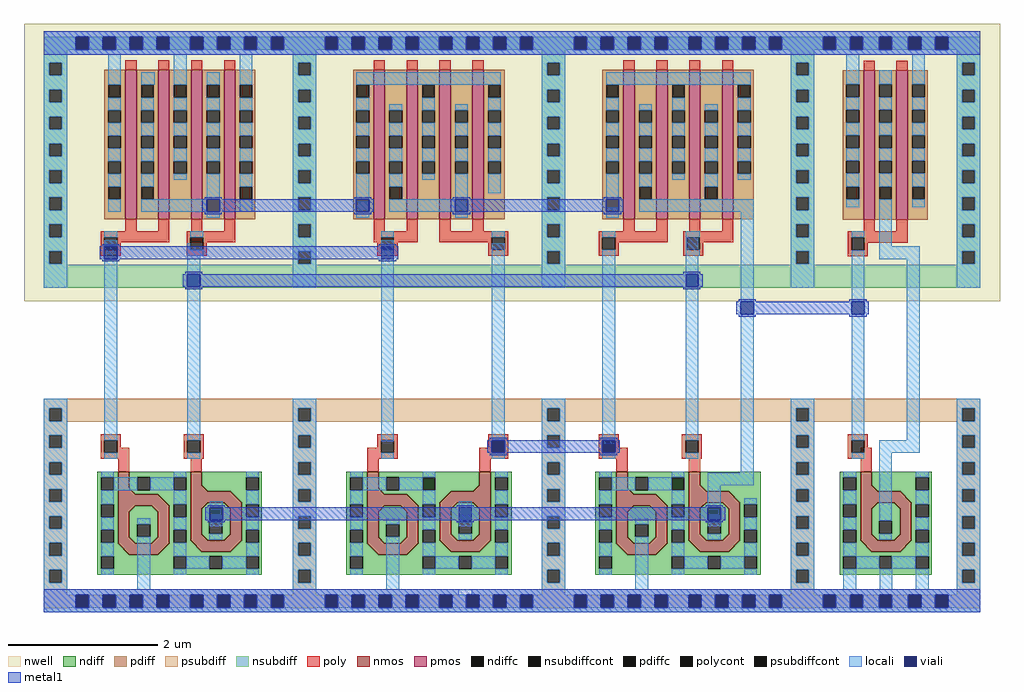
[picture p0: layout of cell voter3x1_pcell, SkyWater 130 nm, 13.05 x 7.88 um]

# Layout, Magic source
magic
tech sky130A
magscale 1 2
<< metal1 >>
rect 1867 797 2108 831
use votern3x1_pcell  votern3x1_pcell_0
transform 1 0 0 0 1 0
box -84 0 2082 1575
use invx1_pcell  invx1_pcell_0
transform 1 0 1998 0 1 0
box -84 0 528 1575
use li1_M1_contact  li1_M1_contact_16
transform -1 0 1850 0 -1 814
box -53 -33 29 33
use li1_M1_contact  li1_M1_contact_0
transform 1 0 2146 0 1 814
box -53 -33 29 33
<< end >>

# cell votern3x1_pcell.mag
magic
tech sky130A
magscale 1 2
<< nwell >>
rect 84 1554 582 1575
rect 31 1492 582 1554
rect 84 832 582 1492
rect 750 832 1248 1575
rect 1416 832 1914 1575
<< pdiffc >>
rect 141 1377 175 1411
rect 229 1377 263 1411
rect 317 1377 351 1411
rect 405 1377 439 1411
rect 493 1377 527 1411
rect 805 1377 839 1411
rect 981 1377 1015 1411
rect 1157 1377 1191 1411
rect 1473 1377 1507 1411
rect 1649 1377 1683 1411
rect 1825 1377 1859 1411
rect 141 1105 175 1139
rect 229 1105 263 1139
rect 493 1105 527 1139
rect 893 1105 927 1139
rect 1561 1105 1595 1139
rect 1737 1105 1771 1139
<< psubdiff >>
rect 31 510 635 572
rect 697 510 1301 572
rect 1363 510 1967 572
rect 31 13 55 47
rect 89 13 127 47
rect 161 13 199 47
rect 233 13 271 47
rect 305 13 361 47
rect 395 13 433 47
rect 467 13 505 47
rect 539 13 577 47
rect 611 13 635 47
rect 697 13 721 47
rect 755 13 793 47
rect 827 13 865 47
rect 899 13 937 47
rect 971 13 1027 47
rect 1061 13 1099 47
rect 1133 13 1171 47
rect 1205 13 1243 47
rect 1277 13 1301 47
rect 1363 13 1387 47
rect 1421 13 1459 47
rect 1493 13 1531 47
rect 1565 13 1603 47
rect 1637 13 1693 47
rect 1727 13 1765 47
rect 1799 13 1837 47
rect 1871 13 1909 47
rect 1943 13 1967 47
<< nsubdiff >>
rect 31 1505 55 1539
rect 89 1505 127 1539
rect 161 1505 199 1539
rect 233 1505 271 1539
rect 305 1505 361 1539
rect 395 1505 433 1539
rect 467 1505 505 1539
rect 539 1505 577 1539
rect 611 1505 635 1539
rect 697 1505 721 1539
rect 755 1505 793 1539
rect 827 1505 865 1539
rect 899 1505 937 1539
rect 971 1505 1027 1539
rect 1061 1505 1099 1539
rect 1133 1505 1171 1539
rect 1205 1505 1243 1539
rect 1277 1505 1301 1539
rect 1363 1505 1387 1539
rect 1421 1505 1459 1539
rect 1493 1505 1531 1539
rect 1565 1505 1603 1539
rect 1637 1505 1693 1539
rect 1727 1505 1765 1539
rect 1799 1505 1837 1539
rect 1871 1505 1909 1539
rect 1943 1505 1967 1539
rect 31 868 635 930
rect 697 868 1301 930
rect 1363 868 1967 930
<< psubdiffcont >>
rect 55 13 89 47
rect 127 13 161 47
rect 199 13 233 47
rect 271 13 305 47
rect 361 13 395 47
rect 433 13 467 47
rect 505 13 539 47
rect 577 13 611 47
rect 721 13 755 47
rect 793 13 827 47
rect 865 13 899 47
rect 937 13 971 47
rect 1027 13 1061 47
rect 1099 13 1133 47
rect 1171 13 1205 47
rect 1243 13 1277 47
rect 1387 13 1421 47
rect 1459 13 1493 47
rect 1531 13 1565 47
rect 1603 13 1637 47
rect 1693 13 1727 47
rect 1765 13 1799 47
rect 1837 13 1871 47
rect 1909 13 1943 47
<< nsubdiffcont >>
rect 55 1505 89 1539
rect 127 1505 161 1539
rect 199 1505 233 1539
rect 271 1505 305 1539
rect 361 1505 395 1539
rect 433 1505 467 1539
rect 505 1505 539 1539
rect 577 1505 611 1539
rect 721 1505 755 1539
rect 793 1505 827 1539
rect 865 1505 899 1539
rect 937 1505 971 1539
rect 1027 1505 1061 1539
rect 1099 1505 1133 1539
rect 1171 1505 1205 1539
rect 1243 1505 1277 1539
rect 1387 1505 1421 1539
rect 1459 1505 1493 1539
rect 1531 1505 1565 1539
rect 1603 1505 1637 1539
rect 1693 1505 1727 1539
rect 1765 1505 1799 1539
rect 1837 1505 1871 1539
rect 1909 1505 1943 1539
<< poly >>
rect 175 990 187 1020
rect 1145 990 1157 1020
rect 1507 990 1519 1020
rect 168 403 198 441
rect 362 409 392 411
rect 834 403 864 441
rect 1134 410 1164 441
rect 1500 403 1530 441
rect 1694 410 1724 411
<< locali >>
rect 31 1539 635 1554
rect 31 1505 55 1539
rect 89 1505 127 1539
rect 161 1505 199 1539
rect 233 1505 271 1539
rect 305 1505 361 1539
rect 395 1505 433 1539
rect 467 1505 505 1539
rect 539 1505 577 1539
rect 611 1505 635 1539
rect 31 1492 635 1505
rect 697 1539 1301 1554
rect 697 1505 721 1539
rect 755 1505 793 1539
rect 827 1505 865 1539
rect 899 1505 937 1539
rect 971 1505 1027 1539
rect 1061 1505 1099 1539
rect 1133 1505 1171 1539
rect 1205 1505 1243 1539
rect 1277 1505 1301 1539
rect 697 1492 1301 1505
rect 1363 1539 1967 1554
rect 1363 1505 1387 1539
rect 1421 1505 1459 1539
rect 1493 1505 1531 1539
rect 1565 1505 1603 1539
rect 1637 1505 1693 1539
rect 1727 1505 1765 1539
rect 1799 1505 1837 1539
rect 1871 1505 1909 1539
rect 1943 1505 1967 1539
rect 1363 1492 1967 1505
rect 141 1411 175 1492
rect 141 1359 175 1377
rect 229 1411 265 1445
rect 317 1411 351 1492
rect 229 1359 263 1377
rect 317 1359 351 1377
rect 405 1411 439 1445
rect 405 1359 439 1377
rect 493 1411 527 1492
rect 493 1359 527 1377
rect 805 1411 1191 1445
rect 805 1359 839 1377
rect 981 1359 1015 1377
rect 1157 1359 1191 1377
rect 1473 1411 1859 1445
rect 1473 1359 1507 1377
rect 1649 1359 1683 1377
rect 1825 1359 1859 1377
rect 141 1139 175 1157
rect 141 1071 175 1105
rect 229 1139 263 1157
rect 405 1121 439 1157
rect 493 1139 527 1157
rect 805 1121 839 1173
rect 893 1139 927 1157
rect 229 1071 405 1105
rect 493 1071 527 1105
rect 1069 1121 1103 1157
rect 1157 1121 1191 1157
rect 1473 1121 1507 1157
rect 1561 1139 1595 1157
rect 1737 1139 1771 1173
rect 805 1069 839 1100
rect 893 1071 1103 1105
rect 1473 1071 1507 1084
rect 1561 1071 1867 1105
rect 131 461 165 988
rect 353 954 361 988
rect 353 467 387 954
rect 353 461 357 467
rect 871 458 905 954
rect 1167 461 1201 988
rect 1463 451 1497 954
rect 1685 461 1719 1020
rect 1833 374 1867 1071
rect 1745 340 1867 374
rect 1745 297 1779 340
rect 219 62 253 187
rect 885 62 919 187
rect 1551 62 1585 187
rect 31 47 635 62
rect 31 13 55 47
rect 89 13 127 47
rect 161 13 199 47
rect 233 13 271 47
rect 305 13 361 47
rect 395 13 433 47
rect 467 13 505 47
rect 539 13 577 47
rect 611 13 635 47
rect 31 0 635 13
rect 697 47 1079 62
rect 1113 47 1301 62
rect 697 13 721 47
rect 755 13 793 47
rect 827 13 865 47
rect 899 13 937 47
rect 971 13 1027 47
rect 1061 13 1099 47
rect 1133 13 1171 47
rect 1205 13 1243 47
rect 1277 13 1301 47
rect 697 0 1301 13
rect 1363 47 1967 62
rect 1363 13 1387 47
rect 1421 13 1459 47
rect 1493 13 1531 47
rect 1565 13 1603 47
rect 1637 13 1693 47
rect 1727 13 1765 47
rect 1799 13 1837 47
rect 1871 13 1909 47
rect 1943 13 1967 47
rect 1363 0 1967 13
<< viali >>
rect 55 1505 89 1539
rect 127 1505 161 1539
rect 199 1505 233 1539
rect 271 1505 305 1539
rect 361 1505 395 1539
rect 433 1505 467 1539
rect 505 1505 539 1539
rect 577 1505 611 1539
rect 721 1505 755 1539
rect 793 1505 827 1539
rect 865 1505 899 1539
rect 937 1505 971 1539
rect 1027 1505 1061 1539
rect 1099 1505 1133 1539
rect 1171 1505 1205 1539
rect 1243 1505 1277 1539
rect 1387 1505 1421 1539
rect 1459 1505 1493 1539
rect 1531 1505 1565 1539
rect 1603 1505 1637 1539
rect 1693 1505 1727 1539
rect 1765 1505 1799 1539
rect 1837 1505 1871 1539
rect 1909 1505 1943 1539
rect 55 13 89 47
rect 127 13 161 47
rect 199 13 233 47
rect 271 13 305 47
rect 361 13 395 47
rect 433 13 467 47
rect 505 13 539 47
rect 577 13 611 47
rect 721 13 755 47
rect 793 13 827 47
rect 865 13 899 47
rect 937 13 971 47
rect 1027 13 1061 47
rect 1099 13 1133 47
rect 1171 13 1205 47
rect 1243 13 1277 47
rect 1387 13 1421 47
rect 1459 13 1493 47
rect 1531 13 1565 47
rect 1603 13 1637 47
rect 1693 13 1727 47
rect 1765 13 1799 47
rect 1837 13 1871 47
rect 1909 13 1943 47
<< metal1 >>
rect 31 1539 635 1554
rect 31 1505 55 1539
rect 89 1505 127 1539
rect 161 1505 199 1539
rect 233 1505 271 1539
rect 305 1505 361 1539
rect 395 1505 433 1539
rect 467 1505 505 1539
rect 539 1505 577 1539
rect 611 1505 635 1539
rect 31 1492 635 1505
rect 697 1539 1301 1554
rect 697 1505 721 1539
rect 755 1505 793 1539
rect 827 1505 865 1539
rect 899 1505 937 1539
rect 971 1505 1027 1539
rect 1061 1505 1099 1539
rect 1133 1505 1171 1539
rect 1205 1505 1243 1539
rect 1277 1505 1301 1539
rect 697 1492 1301 1505
rect 1363 1539 1967 1554
rect 1363 1505 1387 1539
rect 1421 1505 1459 1539
rect 1493 1505 1531 1539
rect 1565 1505 1603 1539
rect 1637 1505 1693 1539
rect 1727 1505 1765 1539
rect 1799 1505 1837 1539
rect 1871 1505 1909 1539
rect 1943 1505 1967 1539
rect 1363 1492 1967 1505
rect 475 1071 799 1105
rect 1135 1071 1466 1105
rect 166 945 905 979
rect 389 871 1690 905
rect 1201 427 1453 461
rect 449 247 1744 281
rect 31 47 635 62
rect 31 13 55 47
rect 89 13 127 47
rect 161 13 199 47
rect 233 13 271 47
rect 305 13 361 47
rect 395 13 433 47
rect 467 13 505 47
rect 539 13 577 47
rect 611 13 635 47
rect 31 0 635 13
rect 697 47 1301 62
rect 697 13 721 47
rect 755 13 793 47
rect 827 13 865 47
rect 899 13 937 47
rect 971 13 1027 47
rect 1061 13 1099 47
rect 1133 13 1171 47
rect 1205 13 1243 47
rect 1277 13 1301 47
rect 697 0 1301 13
rect 1363 47 1967 62
rect 1363 13 1387 47
rect 1421 13 1459 47
rect 1493 13 1531 47
rect 1565 13 1603 47
rect 1637 13 1693 47
rect 1727 13 1765 47
rect 1799 13 1837 47
rect 1871 13 1909 47
rect 1943 13 1967 47
rect 1363 0 1967 13
use li1_M1_contact  li1_M1_contact_15
transform -1 0 148 0 1 962
box -53 -33 29 33
use diff_ring_side  diff_ring_side_1
transform 1 0 0 0 1 0
box -84 0 84 1575
use poly_li1_contact  poly_li1_contact_0
transform 0 1 149 -1 0 988
box -32 -28 34 26
use poly_li1_contact  poly_li1_contact_5
transform 0 1 149 -1 0 445
box -32 -28 34 26
use nmos_bottom  nmos_bottom_0
transform -1 0 360 0 1 101
box 0 0 248 302
use pmos2_1  pmos2_1_0
transform 1 0 43 0 1 1450
box 52 -460 352 37
use li1_M1_contact  li1_M1_contact_6
transform -1 0 370 0 1 888
box -53 -33 29 33
use poly_li1_contact  poly_li1_contact_3
transform 0 1 379 -1 0 988
box -32 -28 34 26
use nmos_top  nmos_top_0
transform -1 0 552 0 1 101
box 0 0 246 308
use poly_li1_contact  poly_li1_contact_2
transform 0 -1 369 1 0 443
box -32 -28 34 26
use li1_M1_contact  li1_M1_contact_3
transform -1 0 422 0 1 1088
box -53 -33 29 33
use li1_M1_contact  li1_M1_contact_0
transform -1 0 430 0 1 264
box -53 -33 29 33
use pmos2_1  pmos2_1_1
transform 1 0 219 0 1 1450
box 52 -460 352 37
use diff_ring_side  diff_ring_side_2
transform 1 0 666 0 1 0
box -84 0 84 1575
use li1_M1_contact  li1_M1_contact_7
transform 1 0 822 0 -1 1088
box -53 -33 29 33
use nmos_bottom  nmos_bottom_1
transform -1 0 1026 0 1 101
box 0 0 248 302
use pmos2_1  pmos2_1_3
transform -1 0 1113 0 1 1450
box 52 -460 352 37
use li1_M1_contact  li1_M1_contact_8
transform 1 0 888 0 1 962
box -53 -33 29 33
use poly_li1_contact  poly_li1_contact_7
transform 0 -1 887 -1 0 988
box -32 -28 34 26
use poly_li1_contact  poly_li1_contact_4
transform 0 -1 887 -1 0 445
box -32 -28 34 26
use li1_M1_contact  li1_M1_contact_4
transform -1 0 1086 0 -1 1088
box -53 -33 29 33
use li1_M1_contact  li1_M1_contact_1
transform 1 0 1096 0 1 264
box -53 -33 29 33
use nmos_top_trim1  nmos_top_trim1_0
transform 1 0 972 0 1 101
box 0 0 248 309
use pmos2_1  pmos2_1_2
transform -1 0 1289 0 1 1450
box 52 -460 352 37
use li1_M1_contact  li1_M1_contact_11
transform -1 0 1184 0 1 444
box -53 -33 29 33
use diff_ring_side  diff_ring_side_3
transform 1 0 1332 0 1 0
box -84 0 84 1575
use poly_li1_contact  poly_li1_contact_6
transform 0 -1 1183 -1 0 988
box -32 -28 34 26
use poly_li1_contact  poly_li1_contact_1
transform 0 -1 1183 -1 0 445
box -32 -28 34 26
use li1_M1_contact  li1_M1_contact_14
transform 1 0 1480 0 1 444
box -53 -33 29 33
use poly_li1_contact  poly_li1_contact_10
transform 0 -1 1479 -1 0 445
box -32 -28 34 26
use poly_li1_contact  poly_li1_contact_11
transform 0 -1 1701 -1 0 445
box -32 -28 34 26
use li1_M1_contact  li1_M1_contact_2
transform 1 0 1762 0 1 264
box -53 -33 29 33
use nmos_bottom  nmos_bottom_2
transform -1 0 1692 0 1 101
box 0 0 248 302
use nmos_top_trim2  nmos_top_trim2_2
transform -1 0 1886 0 1 101
box 0 0 248 309
use li1_M1_contact  li1_M1_contact_16
transform 1 0 1702 0 1 888
box -53 -33 29 33
use poly_li1_contact  poly_li1_contact_9
transform 0 1 1707 -1 0 988
box -32 -28 34 26
use poly_li1_contact  poly_li1_contact_8
transform 0 1 1481 -1 0 988
box -32 -28 34 26
use pmos2_1  pmos2_1_5
transform 1 0 1551 0 1 1450
box 52 -460 352 37
use pmos2_1  pmos2_1_4
transform 1 0 1375 0 1 1450
box 52 -460 352 37
use li1_M1_contact  li1_M1_contact_5
transform 1 0 1490 0 1 1088
box -53 -33 29 33
use diff_ring_side  diff_ring_side_0
transform 1 0 1998 0 1 0
box -84 0 84 1575
<< end >>

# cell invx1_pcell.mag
magic
tech sky130A
magscale 1 2
<< nwell >>
rect 84 1539 360 1575
rect 55 1505 360 1539
rect 84 832 360 1505
<< pdiffc >>
rect 117 1105 151 1139
rect 205 1105 239 1139
rect 293 1105 327 1139
<< psubdiff >>
rect 31 510 413 572
rect 31 13 55 47
rect 89 13 127 47
rect 161 13 205 47
rect 239 13 283 47
rect 317 13 355 47
rect 389 13 413 47
<< nsubdiff >>
rect 31 1505 55 1539
rect 89 1505 127 1539
rect 161 1505 205 1539
rect 239 1505 283 1539
rect 317 1505 355 1539
rect 389 1505 413 1539
rect 31 868 413 930
<< psubdiffcont >>
rect 55 13 89 47
rect 127 13 161 47
rect 205 13 239 47
rect 283 13 317 47
rect 355 13 389 47
<< nsubdiffcont >>
rect 55 1505 89 1539
rect 127 1505 161 1539
rect 205 1505 239 1539
rect 283 1505 317 1539
rect 355 1505 389 1539
<< poly >>
rect 155 409 185 441
<< locali >>
rect 31 1539 413 1554
rect 31 1505 55 1539
rect 89 1505 127 1539
rect 161 1505 205 1539
rect 239 1505 283 1539
rect 317 1505 355 1539
rect 389 1505 413 1539
rect 31 1492 413 1505
rect 117 1139 151 1157
rect 117 1083 151 1105
rect 205 1139 239 1157
rect 205 979 239 1105
rect 293 1139 327 1157
rect 293 1083 327 1105
rect 131 477 165 954
rect 205 945 313 979
rect 279 461 313 945
rect 205 427 313 461
rect 205 261 239 427
rect 109 62 143 101
rect 206 62 240 117
rect 303 62 337 101
rect 31 47 413 62
rect 31 13 55 47
rect 89 13 127 47
rect 161 13 205 47
rect 239 13 283 47
rect 317 13 355 47
rect 389 13 413 47
rect 31 0 413 13
<< viali >>
rect 55 1505 89 1539
rect 127 1505 161 1539
rect 205 1505 239 1539
rect 283 1505 317 1539
rect 355 1505 389 1539
rect 55 13 89 47
rect 127 13 161 47
rect 205 13 239 47
rect 283 13 317 47
rect 355 13 389 47
<< metal1 >>
rect 31 1539 413 1554
rect 31 1505 55 1539
rect 89 1505 127 1539
rect 161 1505 205 1539
rect 239 1505 283 1539
rect 317 1505 355 1539
rect 389 1505 413 1539
rect 31 1492 413 1505
rect 31 47 413 62
rect 31 13 55 47
rect 89 13 127 47
rect 161 13 205 47
rect 239 13 283 47
rect 317 13 355 47
rect 389 13 413 47
rect 31 0 413 13
use nmos_top  nmos_top_0
transform -1 0 345 0 1 101
box 0 0 246 308
use poly_li1_contact  poly_li1_contact_0
transform 0 1 149 -1 0 987
box -32 -28 34 26
use poly_li1_contact  poly_li1_contact_1
transform 0 -1 147 1 0 443
box -32 -28 34 26
use pmos2  pmos2_0
transform 1 0 19 0 1 1450
box 52 -461 352 42
use diff_ring_side  diff_ring_side_1
transform 1 0 0 0 1 0
box -84 0 84 1575
use diff_ring_side  diff_ring_side_0
transform 1 0 444 0 1 0
box -84 0 84 1575
<< end >>

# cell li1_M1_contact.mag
magic
tech sky130
magscale 1 2
<< locali >>
rect -17 17 17 33
rect -17 -33 17 -17
<< viali >>
rect -17 -17 17 17
<< metal1 >>
rect -23 17 23 23
rect -53 -17 -17 17
rect 17 -17 29 17
rect -23 -23 23 -17
<< end >>

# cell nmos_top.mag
magic
tech sky130A
magscale 1 2
<< nmos >>
tri 144 223 160 239 se
rect 160 223 190 276
tri 54 193 84 223 se
rect 84 193 190 223
rect 54 92 84 193
tri 84 177 100 193 nw
tri 144 177 160 193 ne
tri 84 92 100 108 sw
tri 144 92 160 108 se
rect 160 92 190 193
tri 54 62 84 92 ne
rect 84 62 160 92
tri 160 62 190 92 nw
<< ndiff >>
rect 0 260 160 276
rect 0 226 8 260
rect 42 239 160 260
rect 42 226 144 239
rect 0 223 144 226
tri 144 223 160 239 nw
rect 190 260 246 276
rect 190 226 202 260
rect 236 226 246 260
rect 0 188 54 223
tri 54 193 84 223 nw
rect 0 154 8 188
rect 42 154 54 188
rect 0 120 54 154
rect 0 86 8 120
rect 42 86 54 120
tri 84 177 100 193 se
rect 100 177 144 193
tri 144 177 160 193 sw
rect 84 144 160 177
rect 84 110 106 144
rect 140 110 160 144
rect 84 108 160 110
tri 84 92 100 108 ne
rect 100 92 144 108
tri 144 92 160 108 nw
rect 190 188 246 226
rect 190 154 202 188
rect 236 154 246 188
rect 190 120 246 154
rect 0 62 54 86
tri 54 62 84 92 sw
tri 160 62 190 92 se
rect 190 86 202 120
rect 236 86 246 120
rect 190 62 246 86
rect 0 50 246 62
rect 0 16 8 50
rect 42 16 106 50
rect 140 16 202 50
rect 236 16 246 50
rect 0 0 246 16
<< ndiffc >>
rect 8 226 42 260
rect 202 226 236 260
rect 8 154 42 188
rect 8 86 42 120
rect 106 110 140 144
rect 202 154 236 188
rect 202 86 236 120
rect 8 16 42 50
rect 106 16 140 50
rect 202 16 236 50
<< poly >>
rect 160 276 190 308
<< locali >>
rect 8 260 42 276
rect 8 188 42 226
rect 202 260 236 276
rect 202 188 236 226
rect 8 120 42 154
rect 106 144 140 161
rect 106 94 140 110
rect 202 120 236 154
rect 8 50 42 86
rect 202 50 236 86
rect 42 16 106 50
rect 140 16 202 50
rect 8 0 42 16
rect 202 0 236 16
<< end >>

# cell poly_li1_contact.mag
magic
tech sky130A
<< poly >>
rect -16 8 17 13
rect -16 -9 -8 8
rect 9 -9 17 8
rect -16 -14 17 -9
<< polycont >>
rect -8 -9 9 8
<< locali >>
rect -16 -9 -8 8
rect 9 -9 17 8
<< end >>

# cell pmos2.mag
magic
tech sky130
magscale 1 2
<< nwell >>
rect 52 -436 352 36
<< pmos >>
rect 144 -400 174 0
rect 232 -400 262 0
<< pdiff >>
rect 88 -38 144 0
rect 88 -72 98 -38
rect 132 -72 144 -38
rect 88 -106 144 -72
rect 88 -140 98 -106
rect 132 -140 144 -106
rect 88 -174 144 -140
rect 88 -208 98 -174
rect 132 -208 144 -174
rect 88 -242 144 -208
rect 88 -276 98 -242
rect 132 -276 144 -242
rect 88 -400 144 -276
rect 174 -38 232 0
rect 174 -72 186 -38
rect 220 -72 232 -38
rect 174 -106 232 -72
rect 174 -140 186 -106
rect 220 -140 232 -106
rect 174 -174 232 -140
rect 174 -208 186 -174
rect 220 -208 232 -174
rect 174 -242 232 -208
rect 174 -276 186 -242
rect 220 -276 232 -242
rect 174 -400 232 -276
rect 262 -38 316 0
rect 262 -72 274 -38
rect 308 -72 316 -38
rect 262 -106 316 -72
rect 262 -140 274 -106
rect 308 -140 316 -106
rect 262 -174 316 -140
rect 262 -208 274 -174
rect 308 -208 316 -174
rect 262 -242 316 -208
rect 262 -276 274 -242
rect 308 -276 316 -242
rect 262 -400 316 -276
<< pdiffc >>
rect 98 -72 132 -38
rect 98 -140 132 -106
rect 98 -208 132 -174
rect 98 -276 132 -242
rect 186 -72 220 -38
rect 186 -140 220 -106
rect 186 -208 220 -174
rect 186 -276 220 -242
rect 274 -72 308 -38
rect 274 -140 308 -106
rect 274 -208 308 -174
rect 274 -276 308 -242
<< poly >>
rect 144 0 174 26
rect 232 0 262 26
rect 144 -431 174 -400
rect 232 -431 262 -400
rect 144 -461 262 -431
<< locali >>
rect 98 -38 132 42
rect 98 -106 132 -72
rect 98 -174 132 -140
rect 98 -242 132 -208
rect 98 -293 132 -276
rect 186 -38 220 0
rect 186 -106 220 -72
rect 186 -174 220 -140
rect 186 -242 220 -208
rect 186 -293 220 -276
rect 274 -38 308 42
rect 274 -106 308 -72
rect 274 -174 308 -140
rect 274 -242 308 -208
rect 274 -293 308 -276
<< end >>

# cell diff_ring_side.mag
magic
tech sky130A
magscale 1 2
<< nwell >>
rect -84 832 84 1575
<< psubdiff >>
rect -31 546 31 572
rect -31 512 -17 546
rect 17 512 31 546
rect -31 474 31 512
rect -31 440 -17 474
rect 17 440 31 474
rect -31 402 31 440
rect -31 368 -17 402
rect 17 368 31 402
rect -31 330 31 368
rect -31 296 -17 330
rect 17 296 31 330
rect -31 258 31 296
rect -31 224 -17 258
rect 17 224 31 258
rect -31 186 31 224
rect -31 152 -17 186
rect 17 152 31 186
rect -31 114 31 152
rect -31 80 -17 114
rect 17 80 31 114
rect -31 11 31 80
<< nsubdiff >>
rect -31 1470 31 1539
rect -31 1436 -17 1470
rect 17 1436 31 1470
rect -31 1398 31 1436
rect -31 1364 -17 1398
rect 17 1364 31 1398
rect -31 1326 31 1364
rect -31 1292 -17 1326
rect 17 1292 31 1326
rect -31 1254 31 1292
rect -31 1220 -17 1254
rect 17 1220 31 1254
rect -31 1182 31 1220
rect -31 1148 -17 1182
rect 17 1148 31 1182
rect -31 1110 31 1148
rect -31 1076 -17 1110
rect 17 1076 31 1110
rect -31 1038 31 1076
rect -31 1004 -17 1038
rect 17 1004 31 1038
rect -31 966 31 1004
rect -31 932 -17 966
rect 17 932 31 966
rect -31 868 31 932
<< psubdiffcont >>
rect -17 512 17 546
rect -17 440 17 474
rect -17 368 17 402
rect -17 296 17 330
rect -17 224 17 258
rect -17 152 17 186
rect -17 80 17 114
<< nsubdiffcont >>
rect -17 1436 17 1470
rect -17 1364 17 1398
rect -17 1292 17 1326
rect -17 1220 17 1254
rect -17 1148 17 1182
rect -17 1076 17 1110
rect -17 1004 17 1038
rect -17 932 17 966
<< locali >>
rect -31 1470 31 1554
rect -31 1436 -17 1470
rect 17 1436 31 1470
rect -31 1398 31 1436
rect -31 1364 -17 1398
rect 17 1364 31 1398
rect -31 1326 31 1364
rect -31 1292 -17 1326
rect 17 1292 31 1326
rect -31 1254 31 1292
rect -31 1220 -17 1254
rect 17 1220 31 1254
rect -31 1182 31 1220
rect -31 1148 -17 1182
rect 17 1148 31 1182
rect -31 1110 31 1148
rect -31 1076 -17 1110
rect 17 1076 31 1110
rect -31 1038 31 1076
rect -31 1004 -17 1038
rect 17 1004 31 1038
rect -31 966 31 1004
rect -31 932 -17 966
rect 17 932 31 966
rect -31 868 31 932
rect -31 546 31 572
rect -31 512 -17 546
rect 17 512 31 546
rect -31 474 31 512
rect -31 440 -17 474
rect 17 440 31 474
rect -31 402 31 440
rect -31 368 -17 402
rect 17 368 31 402
rect -31 330 31 368
rect -31 296 -17 330
rect 17 296 31 330
rect -31 258 31 296
rect -31 224 -17 258
rect 17 224 31 258
rect -31 186 31 224
rect -31 152 -17 186
rect 17 152 31 186
rect -31 114 31 152
rect -31 80 -17 114
rect 17 80 31 114
rect -31 0 31 80
<< metal1 >>
rect -31 1492 31 1554
rect -31 0 31 62
<< end >>

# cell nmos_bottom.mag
magic
tech sky130A
magscale 1 2
<< nmos >>
tri 146 215 162 231 se
rect 162 215 192 276
tri 56 185 86 215 se
rect 86 185 192 215
rect 56 84 86 185
tri 86 169 102 185 nw
tri 146 169 162 185 ne
tri 86 84 102 100 sw
tri 146 84 162 100 se
rect 162 84 192 185
tri 56 54 86 84 ne
rect 86 54 162 84
tri 162 54 192 84 nw
<< ndiff >>
rect 0 260 162 276
rect 0 226 10 260
rect 44 226 107 260
rect 141 231 162 260
rect 141 226 146 231
rect 0 215 146 226
tri 146 215 162 231 nw
rect 192 260 248 276
rect 192 226 204 260
rect 238 226 248 260
rect 0 188 56 215
rect 0 154 10 188
rect 44 154 56 188
tri 56 185 86 215 nw
rect 192 188 248 226
rect 0 120 56 154
rect 0 86 10 120
rect 44 86 56 120
rect 0 54 56 86
tri 86 169 102 185 se
rect 102 169 146 185
tri 146 169 162 185 sw
rect 86 135 162 169
rect 86 101 107 135
rect 141 101 162 135
rect 86 100 162 101
tri 86 84 102 100 ne
rect 102 84 146 100
tri 146 84 162 100 nw
rect 192 154 204 188
rect 238 154 248 188
rect 192 120 248 154
rect 192 86 204 120
rect 238 86 248 120
tri 56 54 86 84 sw
tri 162 54 192 84 se
rect 192 54 248 86
rect 0 50 248 54
rect 0 16 10 50
rect 44 16 204 50
rect 238 16 248 50
rect 0 0 248 16
<< ndiffc >>
rect 10 226 44 260
rect 107 226 141 260
rect 204 226 238 260
rect 10 154 44 188
rect 10 86 44 120
rect 107 101 141 135
rect 204 154 238 188
rect 204 86 238 120
rect 10 16 44 50
rect 204 16 238 50
<< poly >>
rect 162 276 192 302
<< locali >>
rect 10 260 44 276
rect 204 260 238 276
rect 44 226 107 260
rect 141 226 204 260
rect 10 188 44 226
rect 10 120 44 154
rect 204 188 238 226
rect 10 50 44 86
rect 107 135 141 151
rect 107 85 141 101
rect 204 120 238 154
rect 10 0 44 16
rect 204 50 238 86
rect 204 0 238 16
<< end >>

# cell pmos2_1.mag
magic
tech sky130
magscale 1 2
<< nwell >>
rect 52 -435 352 37
<< pmos >>
rect 144 -399 174 1
rect 232 -399 262 1
<< pdiff >>
rect 88 -107 144 1
rect 88 -141 98 -107
rect 132 -141 144 -107
rect 88 -175 144 -141
rect 88 -209 98 -175
rect 132 -209 144 -175
rect 88 -243 144 -209
rect 88 -277 98 -243
rect 132 -277 144 -243
rect 88 -399 144 -277
rect 174 -107 232 1
rect 174 -141 186 -107
rect 220 -141 232 -107
rect 174 -175 232 -141
rect 174 -209 186 -175
rect 220 -209 232 -175
rect 174 -243 232 -209
rect 174 -277 186 -243
rect 220 -277 232 -243
rect 174 -399 232 -277
rect 262 -107 316 1
rect 262 -141 274 -107
rect 308 -141 316 -107
rect 262 -175 316 -141
rect 262 -209 274 -175
rect 308 -209 316 -175
rect 262 -243 316 -209
rect 262 -277 274 -243
rect 308 -277 316 -243
rect 262 -399 316 -277
<< pdiffc >>
rect 98 -141 132 -107
rect 98 -209 132 -175
rect 98 -277 132 -243
rect 186 -141 220 -107
rect 186 -209 220 -175
rect 186 -277 220 -243
rect 274 -141 308 -107
rect 274 -209 308 -175
rect 274 -277 308 -243
<< poly >>
rect 144 1 174 27
rect 232 1 262 27
rect 144 -430 174 -399
rect 232 -430 262 -399
rect 144 -460 262 -430
<< locali >>
rect 98 -107 132 -91
rect 98 -175 132 -141
rect 98 -243 132 -209
rect 98 -293 132 -277
rect 186 -107 220 -91
rect 186 -175 220 -141
rect 186 -243 220 -209
rect 186 -293 220 -277
rect 274 -107 308 -91
rect 274 -175 308 -141
rect 274 -243 308 -209
rect 274 -293 308 -277
<< end >>

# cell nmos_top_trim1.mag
magic
tech sky130A
magscale 1 2
<< nmos >>
tri 146 223 162 239 se
rect 162 223 192 276
tri 56 193 86 223 se
rect 86 193 192 223
rect 56 92 86 193
tri 86 177 102 193 nw
tri 146 177 162 193 ne
tri 86 92 102 108 sw
tri 146 92 162 108 se
rect 162 92 192 193
tri 56 62 86 92 ne
rect 86 62 162 92
tri 162 62 192 92 nw
<< ndiff >>
rect 0 239 162 276
rect 0 223 146 239
tri 146 223 162 239 nw
rect 192 260 248 276
rect 192 226 204 260
rect 238 226 248 260
rect 0 188 56 223
tri 56 193 86 223 nw
rect 0 154 10 188
rect 44 154 56 188
rect 0 120 56 154
rect 0 86 10 120
rect 44 86 56 120
tri 86 177 102 193 se
rect 102 177 146 193
tri 146 177 162 193 sw
rect 86 144 162 177
rect 86 110 107 144
rect 141 110 162 144
rect 86 108 162 110
tri 86 92 102 108 ne
rect 102 92 146 108
tri 146 92 162 108 nw
rect 192 188 248 226
rect 192 154 204 188
rect 238 154 248 188
rect 192 120 248 154
rect 0 62 56 86
tri 56 62 86 92 sw
tri 162 62 192 92 se
rect 192 86 204 120
rect 238 86 248 120
rect 192 62 248 86
rect 0 50 248 62
rect 0 16 10 50
rect 44 16 107 50
rect 141 16 204 50
rect 238 16 248 50
rect 0 0 248 16
<< ndiffc >>
rect 204 226 238 260
rect 10 154 44 188
rect 10 86 44 120
rect 107 110 141 144
rect 204 154 238 188
rect 204 86 238 120
rect 10 16 44 50
rect 107 16 141 50
rect 204 16 238 50
<< poly >>
rect 162 276 192 309
<< locali >>
rect 204 260 238 276
rect 10 188 44 204
rect 204 188 238 226
rect 10 120 44 154
rect 107 144 141 161
rect 107 94 141 110
rect 204 120 238 154
rect 10 50 44 86
rect 204 50 238 86
rect 44 16 107 50
rect 141 16 204 50
rect 10 0 44 16
rect 204 0 238 16
<< end >>

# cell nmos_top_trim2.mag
magic
tech sky130A
magscale 1 2
<< nmos >>
tri 146 223 162 239 se
rect 162 223 192 276
tri 56 193 86 223 se
rect 86 193 192 223
rect 56 178 87 193
tri 87 178 102 193 nw
tri 146 178 161 193 ne
rect 161 178 192 193
rect 56 92 86 178
tri 86 92 102 108 sw
tri 146 92 162 108 se
rect 162 92 192 178
tri 56 62 86 92 ne
rect 86 62 162 92
tri 162 62 192 92 nw
<< ndiff >>
rect 0 239 162 276
rect 0 223 146 239
tri 146 223 162 239 nw
rect 0 188 56 223
tri 56 193 86 223 nw
rect 0 154 10 188
rect 44 154 56 188
tri 87 178 102 193 se
rect 102 178 146 193
tri 146 178 161 193 sw
rect 192 188 248 276
rect 0 120 56 154
rect 0 86 10 120
rect 44 86 56 120
rect 86 144 162 178
rect 86 110 107 144
rect 141 110 162 144
rect 86 108 162 110
tri 86 92 102 108 ne
rect 102 92 146 108
tri 146 92 162 108 nw
rect 192 154 204 188
rect 238 154 248 188
rect 192 120 248 154
rect 0 62 56 86
tri 56 62 86 92 sw
tri 162 62 192 92 se
rect 192 86 204 120
rect 238 86 248 120
rect 192 62 248 86
rect 0 50 248 62
rect 0 16 10 50
rect 44 16 107 50
rect 141 16 204 50
rect 238 16 248 50
rect 0 0 248 16
<< ndiffc >>
rect 10 154 44 188
rect 10 86 44 120
rect 107 110 141 144
rect 204 154 238 188
rect 204 86 238 120
rect 10 16 44 50
rect 107 16 141 50
rect 204 16 238 50
<< poly >>
rect 162 276 192 309
<< locali >>
rect 10 188 44 205
rect 204 188 238 205
rect 10 120 44 154
rect 107 144 141 161
rect 107 94 141 110
rect 204 120 238 154
rect 10 50 44 86
rect 204 50 238 86
rect 44 16 107 50
rect 141 16 204 50
rect 10 0 44 16
rect 204 0 238 16
<< end >>
